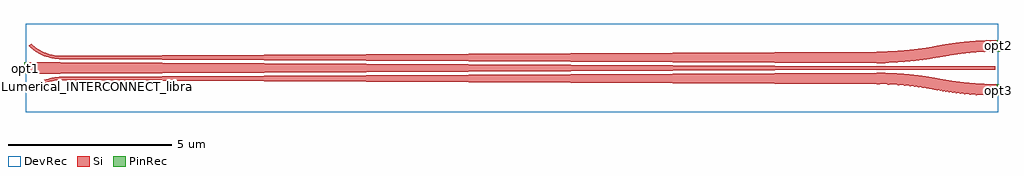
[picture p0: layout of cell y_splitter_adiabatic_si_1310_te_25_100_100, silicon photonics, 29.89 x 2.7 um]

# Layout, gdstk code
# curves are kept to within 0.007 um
import gdstk
lib = gdstk.Library(unit=1e-6, precision=1e-09)
def R(c, l, rs):  # rectangles x0, y0, x1, y1
    for r in rs: c.add(gdstk.rectangle(r[:2], r[2:], *l))
def P(c, l, *ps):  # polygons
    for p in ps: c.add(gdstk.Polygon(p, *l))
Si = (1, 0)
PinRec = (1, 10)
DevRec = (68, 0)

y_splitter_adiabatic_si_ = lib.new_cell('y_splitter_adiabatic_si_1310_te_25_100_100')
R(y_splitter_adiabatic_si_, Si, [(-0.966,-0.175,0.1,0.175)])
P(y_splitter_adiabatic_si_, Si, [(25.1,0.15),(25.1,0.5),(25.554,0.51),(26.143,0.555),(26.556,0.608),(27.323,0.739),(27.854,0.804),(28.342,0.839),(28.825,0.85),(28.825,0.5),(28.371,0.49),(27.782,0.445),(27.369,0.392),(26.602,0.261),(26.071,0.196),(25.583,0.161)],
  [(28.728,-0.85),(28.181,-0.83),(27.655,-0.783),(27.164,-0.714),(26.495,-0.599),(26.013,-0.542),(25.554,-0.51),(25.1,-0.5),(25.1,-0.15),(25.583,-0.161),(26.071,-0.196),(26.602,-0.261),(27.369,-0.392),(27.782,-0.445),(28.371,-0.49),(28.825,-0.5),(28.825,-0.85)],
  [(0.1,-0.175),(0.1,0.175),(25.1,0.05),(28.725,0.05),(28.725,-0.05),(25.1,-0.05)],
  [(25.1,0.15),(0.1,0.275),(0.1,0.375),(25.1,0.5)],
  [(25.1,-0.5),(0.1,-0.375),(0.1,-0.275),(25.1,-0.15)],
  [(0.066,0.275),(-0.199,0.308),(-0.423,0.379),(-0.659,0.505),(-0.867,0.676),(-0.796,0.747),(-0.603,0.588),(-0.384,0.471),(-0.147,0.399),(0.101,0.375),(0.101,0.275)],
  [(-0.796,-0.747),(-0.867,-0.676),(-0.714,-0.544),(-0.544,-0.436),(-0.392,-0.367),(-0.232,-0.316),(-0.067,-0.285),(0.101,-0.275),(0.101,-0.375),(-0.147,-0.399),(-0.384,-0.471),(-0.603,-0.588)])
R(y_splitter_adiabatic_si_, DevRec, [(-0.966,-1.35,28.825,1.35)])
y_splitter_adiabatic_si_.add(gdstk.FlexPath([(-0.916,0),(-1.016,0)], 0.35, ends="flush", simple_path=True, layer=1, datatype=10))  # PinRec
y_splitter_adiabatic_si_.add(gdstk.FlexPath([(28.775,0.675),(28.875,0.675)], 0.35, ends="flush", simple_path=True, layer=1, datatype=10))  # PinRec
y_splitter_adiabatic_si_.add(gdstk.FlexPath([(28.775,-0.675),(28.875,-0.675)], 0.35, ends="flush", simple_path=True, layer=1, datatype=10))  # PinRec
y_splitter_adiabatic_si_.add(gdstk.Label('Lumerical_INTERCONNECT_library=Design kits/SUNY_DP', (0,-0.575), layer=68, texttype=0))
y_splitter_adiabatic_si_.add(gdstk.Label('Component=y_splitter_adiabatic', (0,-0.375), layer=68, texttype=0))
y_splitter_adiabatic_si_.add(gdstk.Label('Component=y_splitter_adiabatic', (0,-0.375), layer=68, texttype=0))
y_splitter_adiabatic_si_.add(gdstk.Label('opt1', (-0.966,0), layer=1, texttype=10))
y_splitter_adiabatic_si_.add(gdstk.Label('opt2', (28.825,0.675), layer=1, texttype=10))
y_splitter_adiabatic_si_.add(gdstk.Label('opt3', (28.825,-0.675), layer=1, texttype=10))

lib.write_gds('y_splitter_adiabatic_si_1310_te_25_100_100.gds')
